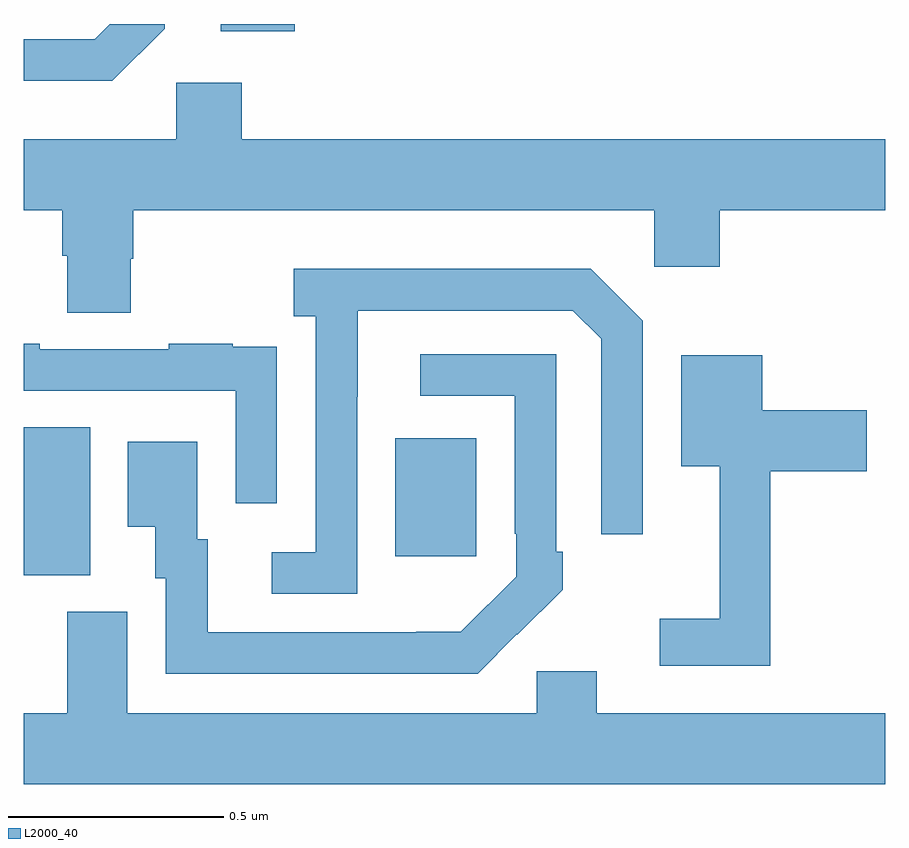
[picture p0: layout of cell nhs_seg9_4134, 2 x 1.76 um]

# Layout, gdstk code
import gdstk
lib = gdstk.Library(unit=1e-6, precision=1e-09)
def R(c, l, rs):  # rectangles x0, y0, x1, y1
    for r in rs: c.add(gdstk.rectangle(r[:2], r[2:], *l))
def P(c, l, *ps):  # polygons
    for p in ps: c.add(gdstk.Polygon(p, *l))
L2000_40 = (2000, 40)

nhs_seg9_4134 = lib.new_cell('nhs_seg9_4134')
R(nhs_seg9_4134, L2000_40, [(162,1214.221,162.154,1214.564), (162.863,1214.265,163.051,1214.539), (162.458,1215.483,162.629,1215.5)])
P(nhs_seg9_4134, L2000_40, [(162.327,1215.489),(162.327,1215.5),(162.2,1215.5),(162.165,1215.465),(162,1215.465),(162,1215.368),(162.206,1215.368)],
  [(162,1215.068),(162.089,1215.068),(162.089,1214.962),(162.101,1214.962),(162.101,1214.83),(162.249,1214.83),(162.249,1214.955),(162.254,1214.955),(162.254,1215.068),(163.464,1215.068),(163.464,1214.937),(163.616,1214.937),(163.616,1215.068),(164,1215.068),(164,1215.232),(162.506,1215.232),(162.506,1215.364),(162.354,1215.364),(162.354,1215.232),(162,1215.232)],
  [(162.774,1214.635),(162.775,1214.635),(162.775,1214.835),(163.275,1214.835),(163.341,1214.769),(163.341,1214.316),(163.437,1214.316),(163.437,1214.811),(163.316,1214.932),(162.627,1214.932),(162.627,1214.822),(162.678,1214.822),(162.678,1214.274),(162.576,1214.274),(162.576,1214.178),(162.774,1214.178)],
  [(162.588,1214.642),(162.587,1214.642),(162.587,1214.751),(162.485,1214.751),(162.485,1214.758),(162.337,1214.758),(162.337,1214.745),(162.037,1214.745),(162.037,1214.758),(162,1214.758),(162,1214.649),(162.492,1214.649),(162.492,1214.388),(162.588,1214.388)],
  [(163.145,1214.083),(163.146,1214.082),(163.251,1214.187),(163.251,1214.275),(163.236,1214.275),(163.236,1214.733),(162.921,1214.733),(162.921,1214.637),(163.14,1214.637),(163.14,1214.317),(163.143,1214.317),(163.143,1214.217),(163.015,1214.089),(162.911,1214.089),(162.911,1214.088),(162.427,1214.088),(162.427,1214.304),(162.403,1214.304),(162.403,1214.53),(162.242,1214.53),(162.242,1214.333),(162.305,1214.333),(162.305,1214.214),(162.33,1214.214),(162.33,1213.992),(163.054,1213.992)],
  [(163.733,1214.462),(163.957,1214.462),(163.957,1214.604),(163.714,1214.604),(163.714,1214.731),(163.526,1214.731),(163.526,1214.474),(163.616,1214.474),(163.616,1214.119),(163.476,1214.119),(163.476,1214.01),(163.733,1214.01)],
  [(164,1213.9),(163.33,1213.9),(163.33,1213.998),(163.191,1213.998),(163.191,1213.9),(162.241,1213.9),(162.241,1214.136),(162.101,1214.136),(162.101,1213.9),(162,1213.9),(162,1213.736),(164,1213.736)])

lib.write_gds('nhs_seg9_4134.gds')
